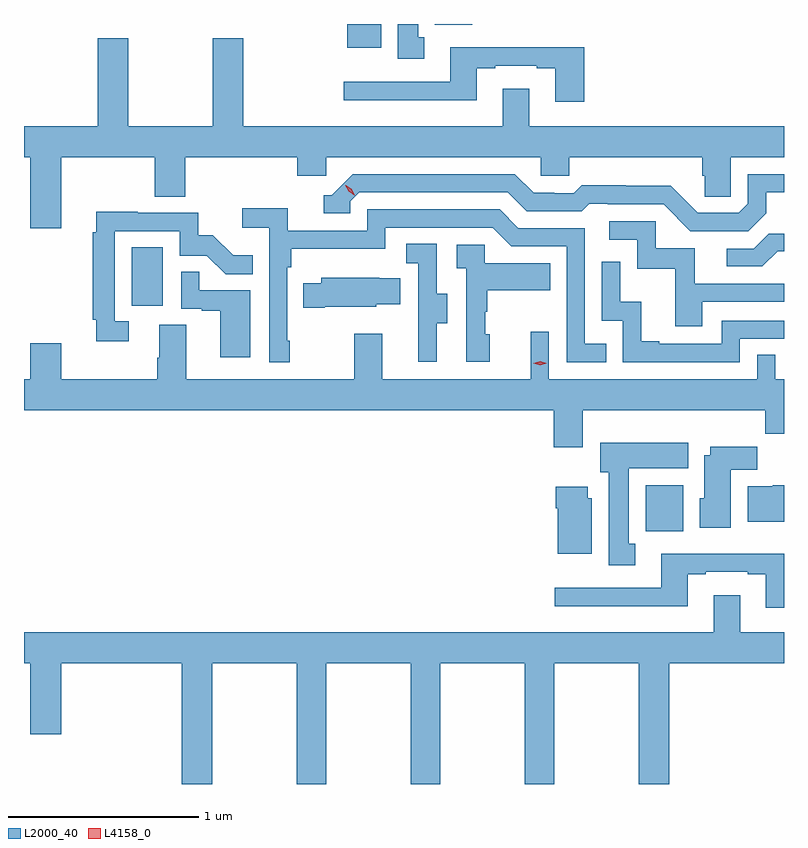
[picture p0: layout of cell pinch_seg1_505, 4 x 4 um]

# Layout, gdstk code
import gdstk
lib = gdstk.Library(unit=1e-6, precision=1e-09)
def R(c, l, rs):  # rectangles x0, y0, x1, y1
    for r in rs: c.add(gdstk.rectangle(r[:2], r[2:], *l))
def P(c, l, *ps):  # polygons
    for p in ps: c.add(gdstk.Polygon(p, *l))
L2000_40 = (2000, 40)
L4158_0 = (4158, 0)

pinch_seg1_505 = lib.new_cell('pinch_seg1_505')
R(pinch_seg1_505, L2000_40, [(1139.276,539.108,1139.473,539.35), (1136.57,540.294,1136.734,540.601), (1137.704,541.652,1137.883,541.777), (1138.166,541.772,1138.363,541.777)])
P(pinch_seg1_505, L2000_40, [(1138.111,541.706),(1138.078,541.706),(1138.078,541.777),(1137.971,541.777),(1137.971,541.593),(1138.111,541.593)],
  [(1136.2,541.076),(1136.692,541.076),(1136.692,540.868),(1136.852,540.868),(1136.852,541.076),(1137.443,541.076),(1137.443,540.978),(1137.594,540.978),(1137.594,541.076),(1138.725,541.076),(1138.725,540.978),(1138.875,540.978),(1138.875,541.076),(1139.573,541.076),(1139.573,540.978),(1139.587,540.978),(1139.587,540.868),(1139.724,540.868),(1139.724,541.076),(1140.004,541.076),(1140.004,541.24),(1138.663,541.24),(1138.663,541.435),(1138.523,541.435),(1138.523,541.24),(1137.158,541.24),(1137.158,541.702),(1136.998,541.702),(1136.998,541.24),(1136.553,541.24),(1136.553,541.702),(1136.393,541.702),(1136.393,541.24),(1136.004,541.24),(1136.004,541.076),(1136.036,541.076),(1136.036,540.702),(1136.2,540.702)],
  [(1138.952,541.654),(1138.247,541.654),(1138.247,541.473),(1137.687,541.473),(1137.687,541.376),(1138.387,541.376),(1138.387,541.545),(1138.483,541.545),(1138.483,541.557),(1138.703,541.557),(1138.703,541.545),(1138.799,541.545),(1138.799,541.368),(1138.952,541.368)],
  [(1139.911,540.781),(1139.911,540.891),(1140.004,540.891),(1140.004,540.987),(1139.814,540.987),(1139.814,540.831),(1139.766,540.783),(1139.55,540.783),(1139.408,540.925),(1139.172,540.925),(1139.172,540.928),(1138.939,540.928),(1138.897,540.885),(1138.794,540.885),(1138.794,540.888),(1138.687,540.888),(1138.588,540.987),(1137.735,540.987),(1137.624,540.876),(1137.581,540.876),(1137.581,540.78),(1137.72,540.78),(1137.72,540.843),(1137.768,540.891),(1138.551,540.891),(1138.65,540.792),(1138.939,540.792),(1138.978,540.831),(1139.077,540.831),(1139.077,540.828),(1139.37,540.828),(1139.511,540.687),(1139.817,540.687)],
  [(1137.403,540.109),(1137.39,540.109),(1137.39,540.497),(1137.41,540.497),(1137.41,540.593),(1137.906,540.593),(1137.906,540.705),(1138.47,540.705),(1138.569,540.606),(1138.86,540.606),(1138.86,539.997),(1139.069,539.997),(1139.069,540.093),(1138.956,540.093),(1138.956,540.702),(1138.606,540.702),(1138.507,540.801),(1137.81,540.801),(1137.81,540.69),(1137.392,540.69),(1137.392,540.806),(1137.153,540.806),(1137.153,540.704),(1137.294,540.704),(1137.294,539.997),(1137.403,539.997)],
  [(1136.554,540.213),(1136.481,540.213),(1136.481,540.687),(1136.823,540.687),(1136.823,540.558),(1136.967,540.558),(1137.065,540.46),(1137.209,540.46),(1137.209,540.559),(1137.105,540.559),(1136.998,540.666),(1136.922,540.666),(1136.922,540.783),(1136.603,540.783),(1136.603,540.788),(1136.384,540.788),(1136.384,540.68),(1136.365,540.68),(1136.365,540.22),(1136.384,540.22),(1136.384,540.108),(1136.554,540.108)],
  [(1139.575,540.315),(1140.004,540.315),(1140.004,540.411),(1139.533,540.411),(1139.533,540.597),(1139.328,540.597),(1139.328,540.738),(1139.085,540.738),(1139.085,540.642),(1139.232,540.642),(1139.232,540.489),(1139.431,540.489),(1139.431,540.186),(1139.575,540.186)],
  [(1139.971,540.582),(1140.004,540.582),(1140.004,540.674),(1139.924,540.674),(1139.844,540.594),(1139.703,540.594),(1139.703,540.501),(1139.89,540.501)],
  [(1138.177,540.202),(1138.231,540.202),(1138.231,540.357),(1138.176,540.357),(1138.176,540.62),(1138.017,540.62),(1138.017,540.517),(1138.08,540.517),(1138.08,540.213),(1138.079,540.213),(1138.079,540),(1138.177,540)],
  [(1138.456,540.144),(1138.431,540.144),(1138.431,540.263),(1138.441,540.263),(1138.441,540.377),(1138.775,540.377),(1138.775,540.517),(1138.428,540.517),(1138.428,540.615),(1138.281,540.615),(1138.281,540.491),(1138.332,540.491),(1138.332,540),(1138.456,540)],
  [(1139.772,540.12),(1140.004,540.12),(1140.004,540.216),(1139.676,540.216),(1139.676,540.093),(1139.347,540.093),(1139.347,540.106),(1139.252,540.106),(1139.252,540.314),(1139.142,540.314),(1139.142,540.526),(1139.046,540.526),(1139.046,540.216),(1139.154,540.216),(1139.154,539.997),(1139.772,539.997)],
  [(1137.196,540.375),(1136.927,540.375),(1136.927,540.473),(1136.832,540.473),(1136.832,540.279),(1136.939,540.279),(1136.939,540.267),(1137.038,540.267),(1137.038,540.024),(1137.196,540.024)],
  [(1137.586,540.29),(1137.858,540.29),(1137.858,540.302),(1137.983,540.302),(1137.983,540.439),(1137.875,540.439),(1137.875,540.442),(1137.569,540.442),(1137.569,540.412),(1137.475,540.412),(1137.475,540.283),(1137.586,540.283)],
  [(1138.945,539.744),(1139.905,539.744),(1139.905,539.62),(1140.004,539.62),(1140.004,539.908),(1139.958,539.908),(1139.958,540.035),(1139.862,540.035),(1139.862,539.908),(1138.767,539.908),(1138.767,540.157),(1138.67,540.157),(1138.67,539.908),(1137.889,539.908),(1137.889,540.148),(1137.742,540.148),(1137.742,539.908),(1136.857,539.908),(1136.857,540.194),(1136.717,540.194),(1136.717,540.02),(1136.705,540.02),(1136.705,539.908),(1136.2,539.908),(1136.2,540.097),(1136.036,540.097),(1136.036,539.908),(1136.004,539.908),(1136.004,539.744),(1138.793,539.744),(1138.793,539.55),(1138.945,539.55)],
  [(1139.221,539.042),(1139.188,539.042),(1139.188,539.438),(1139.5,539.438),(1139.5,539.572),(1139.036,539.572),(1139.036,539.418),(1139.081,539.418),(1139.081,538.929),(1139.221,538.929)],
  [(1139.725,539.432),(1139.864,539.432),(1139.864,539.551),(1139.615,539.551),(1139.615,539.506),(1139.585,539.506),(1139.585,539.28),(1139.561,539.28),(1139.561,539.126),(1139.725,539.126)],
  [(1140.004,539.35),(1139.946,539.35),(1139.946,539.344),(1139.813,539.344),(1139.813,539.156),(1140.004,539.156)],
  [(1138.993,539.28),(1138.972,539.28),(1138.972,539.341),(1138.802,539.341),(1138.802,539.228),(1138.814,539.228),(1138.814,538.988),(1138.993,538.988)],
  [(1140.004,538.99),(1139.357,538.99),(1139.357,538.809),(1138.797,538.809),(1138.797,538.712),(1139.497,538.712),(1139.497,538.881),(1139.593,538.881),(1139.593,538.893),(1139.813,538.893),(1139.813,538.881),(1139.909,538.881),(1139.909,538.704),(1140.004,538.704)],
  [(1136.994,538.412),(1137.439,538.412),(1137.439,537.777),(1137.594,537.777),(1137.594,538.412),(1138.039,538.412),(1138.039,537.777),(1138.194,537.777),(1138.194,538.412),(1138.639,538.412),(1138.639,537.777),(1138.794,537.777),(1138.794,538.412),(1139.239,538.412),(1139.239,537.777),(1139.399,537.777),(1139.399,538.412),(1140.004,538.412),(1140.004,538.576),(1139.773,538.576),(1139.773,538.771),(1139.633,538.771),(1139.633,538.576),(1136.004,538.576),(1136.004,538.412),(1136.036,538.412),(1136.036,538.038),(1136.2,538.038),(1136.2,538.412),(1136.834,538.412),(1136.834,537.777),(1136.994,537.777)])
P(pinch_seg1_505, L4158_0, [(1137.743,540.876),(1137.713,540.896),(1137.696,540.929),(1137.696,540.929),(1137.697,540.929),(1137.727,540.909),(1137.744,540.876),(1137.744,540.876)],
  [(1138.72,539.981),(1138.685,539.991),(1138.684,539.991),(1138.685,539.991),(1138.72,540.001),(1138.755,539.991),(1138.756,539.991),(1138.755,539.991)])

lib.write_gds('pinch_seg1_505.gds')
